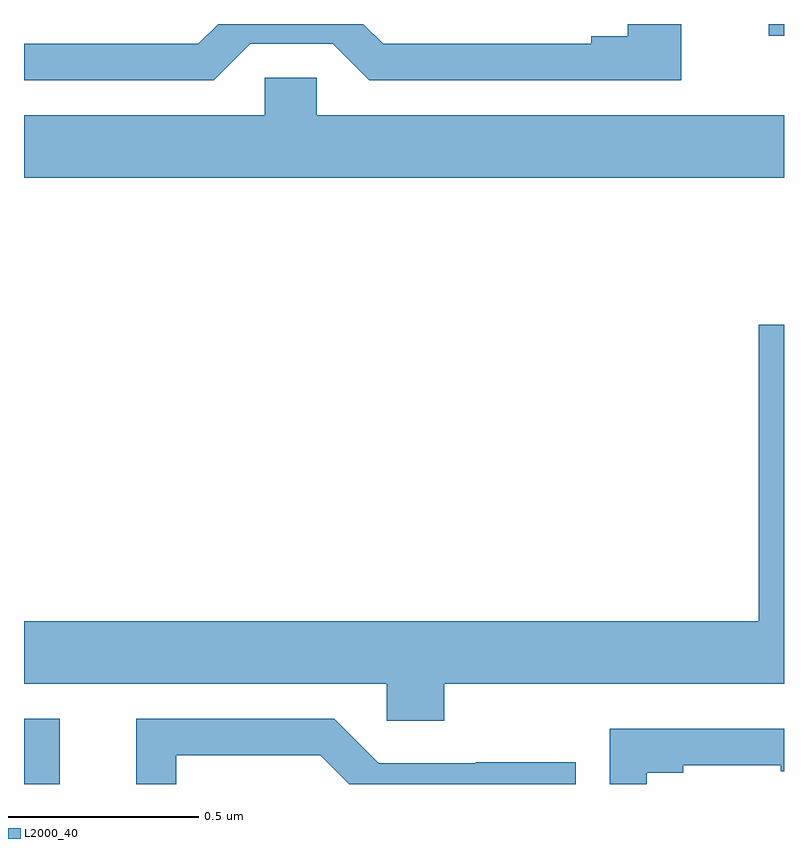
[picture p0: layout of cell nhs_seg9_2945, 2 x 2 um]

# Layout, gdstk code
import gdstk
lib = gdstk.Library(unit=1e-6, precision=1e-09)
def R(c, l, rs):  # rectangles x0, y0, x1, y1
    for r in rs: c.add(gdstk.rectangle(r[:2], r[2:], *l))
def P(c, l, *ps):  # polygons
    for p in ps: c.add(gdstk.Polygon(p, *l))
L2000_40 = (2000, 40)

nhs_seg9_2945 = lib.new_cell('nhs_seg9_2945')
R(nhs_seg9_2945, L2000_40, [(147,1185.5,147.094,1185.672), (148.96,1187.469,149,1187.5)])
P(nhs_seg9_2945, L2000_40, [(147.595,1187.448),(147.813,1187.448),(147.909,1187.352),(148.729,1187.352),(148.729,1187.5),(148.589,1187.5),(148.589,1187.468),(148.493,1187.468),(148.493,1187.448),(147.945,1187.448),(147.893,1187.5),(147.511,1187.5),(147.459,1187.448),(147,1187.448),(147,1187.352),(147.499,1187.352)],
  [(149,1187.26),(147.771,1187.26),(147.771,1187.358),(147.633,1187.358),(147.633,1187.26),(147,1187.26),(147,1187.096),(149,1187.096)],
  [(148.106,1185.764),(149,1185.764),(149,1186.708),(148.934,1186.708),(148.934,1185.928),(147,1185.928),(147,1185.764),(147.954,1185.764),(147.954,1185.666),(148.106,1185.666)],
  [(147.4,1185.576),(147.78,1185.576),(147.856,1185.5),(148.452,1185.5),(148.452,1185.557),(148.189,1185.557),(148.189,1185.555),(147.933,1185.555),(147.816,1185.672),(147.296,1185.672),(147.296,1185.5),(147.4,1185.5)],
  [(148.639,1185.529),(148.735,1185.529),(148.735,1185.549),(148.991,1185.549),(148.991,1185.534),(149,1185.534),(149,1185.645),(148.542,1185.645),(148.542,1185.5),(148.639,1185.5)])

lib.write_gds('nhs_seg9_2945.gds')
